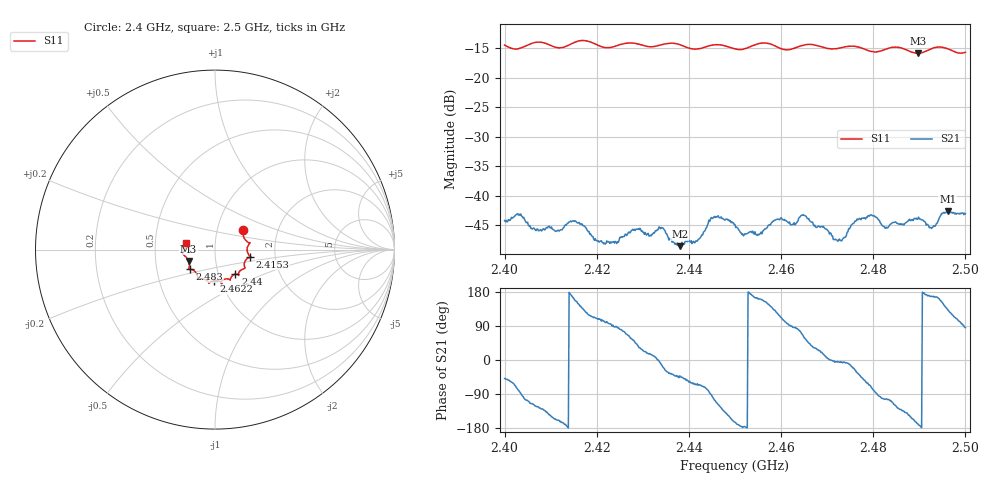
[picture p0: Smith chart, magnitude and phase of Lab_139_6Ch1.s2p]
# Hz S RI R 50
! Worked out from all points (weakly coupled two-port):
!   601 points, 2.4 GHz to 2.5 GHz, reference 50 ohm
!   highest |S21| = -42.69 dB at 2.4962 GHz (marker M1); lowest = -48.6 dB at 2.438 GHz (marker M2)
!   lowest |S11| = -15.9 dB at 2.4897 GHz (marker M3), VSWR 1.38, Z = 36.9 - j4.81 ohm
!   |S11| at or under -10 dB: start of sweep to end of sweep
!   S12 and S22 are empty: the file has one direction only
!   S11 on the Smith chart (normalised r, x): 2.4 GHz: 1.33, +0.29; 2.4153 GHz: 1.48, -0.12; 2.44 GHz: 1.20, -0.34; 2.4622 GHz: 0.93, -0.33; 2.483 GHz: 0.74, -0.17; 2.5 GHz: 0.72, +0.06
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2.4e9  0.1554 0.1068  0.00404 -0.00464  0 0  0 0
2.403e9  0.1655 0.0597  0.00124 -0.00671  0 0  0 0
2.411333e9  0.1796 0.00884  -0.00466 -0.00185  0 0  0 0
2.415333e9  0.1963 -0.0388  -0.00561 0.00242  0 0  0 0
2.416667e9  0.2019 -0.0429  -0.00428 0.00373  0 0  0 0
2.4215e9  0.171 -0.0589  -0.000902 0.0038  0 0  0 0
2.433333e9  0.131 -0.1334  0.00515 3.52e-05  0 0  0 0
2.438e9  0.1288 -0.1403  0.00277 -0.00249  0 0  0 0
2.44e9  0.114 -0.1367  0.00219 -0.00355  0 0  0 0
2.445333e9  0.0846 -0.1694  -0.00125 -0.00645  0 0  0 0
2.45e9  0.0646 -0.1629  -0.00547 -0.00155  0 0  0 0
2.455e9  0.0361 -0.1905  -0.00444 0.00153  0 0  0 0
2.462167e9  -0.0074 -0.1739  9.81e-05 0.00566  0 0  0 0
2.466667e9  -0.0345 -0.1879  0.00475 0.00359  0 0  0 0
2.472667e9  -0.0768 -0.1605  0.00426 -0.000455  0 0  0 0
2.479333e9  -0.1053 -0.1303  0.00264 -0.00634  0 0  0 0
2.483e9  -0.1376 -0.1093  -0.00124 -0.00517  0 0  0 0
2.483333e9  -0.1401 -0.1091  -0.00134 -0.00529  0 0  0 0
2.489667e9  -0.1475 -0.0636  -0.00622 -0.00128  0 0  0 0
2.492667e9  -0.1736 -0.0296  -0.00516 0.00106  0 0  0 0
2.496167e9  -0.1749 -0.0139  -0.00504 0.00534  0 0  0 0
2.5e9  -0.1594 0.0391  0.000573 0.00699  0 0  0 0
